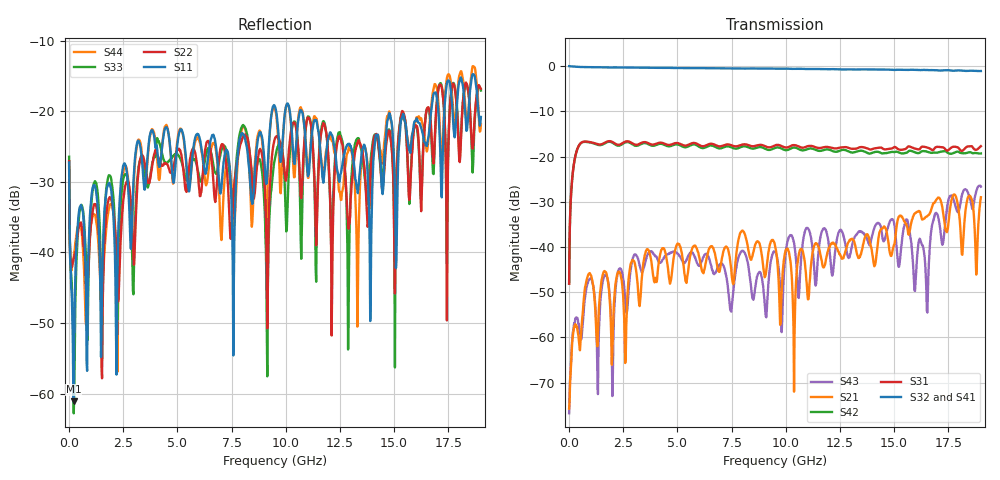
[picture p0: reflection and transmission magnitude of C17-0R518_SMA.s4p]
! MARKI MICROWAVE INC.
! Email:  support@markimicrowave.com  Phone:  408-778-4200
! Model Number:  C17-0R518  Date:  04/16
! Filename:		C17_0R518_SMA.S4P  Version: 1.0
! Description:  4-port S-parameter data for Directional Coupler C17-0R518 with SMA connectors on all ports
! Frequency Range: 	10 MHz to 19 GHz
! Port Configuration:	PORT 1: Input
!  PORT 2: Isolated
!  Port 3: Coupled
!  Port 4: Output
! S4P File: Measurements: Mag<S11> Ang<S11> Mag<S12> Ang<S12> Mag<S13> Ang<S13> Mag<S14> Ang<S14>! row 1
!  Mag<S21> Ang<S21> Mag<S22> Ang<S22> Mag<S23> Ang<S23> Mag<S24> Ang<S24>! row 2
!  Mag<S31> Ang<S31> Mag<S32> Ang<S32> Mag<S33> Ang<S33> Mag<S34> Ang<S34>! row 3
!  Mag<S41> Ang<S41> Mag<S42> Ang<S42> Mag<S43> Ang<S43> Mag<S44> Ang<S44>! row 4
# Hz S  dB  R 50
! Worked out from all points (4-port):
!   801 points, 10 MHz to 19 GHz, reference 50 ohm
!   strongest paths, dB at 10 MHz, 4.758 GHz, 9.505 GHz, 14.25 GHz, 19 GHz:
!     S32: 0.0, -0.4, -0.6, -0.8, -1.1
!     S41: 0.0, -0.4, -0.6, -0.8, -1.3
!     S31: -48.1, -17.3, -17.5, -18.1, -17.7
!     S42: -48.1, -17.6, -18.1, -19.0, -19.3
!     S21: -75.8, -45.4, -39.7, -39.0, -29.0
!     S43: -76.8, -41.1, -41.1, -34.7, -26.7
!   lowest |S11| = -61.1 dB at 223.6 MHz (marker M1), VSWR 1.00, Z = 49.9 + j0.0462 ohm
!   |S11| at or under -10 dB: start of sweep to end of sweep
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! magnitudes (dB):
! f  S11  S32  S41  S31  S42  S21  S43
! 10 MHz  -27.3  0.0  0.0  -48.1  -48.1  -75.8  -76.8
! 223.6 MHz  -61.1  -0.1  -0.1  -21.9  -21.9  -58.2  -57.4
! 3.808 GHz  -22.7  -0.4  -0.4  -17.3  -17.6  -43.4  -41.1
! 8.081 GHz  -23.4  -0.5  -0.6  -17.3  -17.7  -36.8  -41.2
! 9.149 GHz  -29.1  -0.5  -0.6  -17.9  -18.5  -43.3  -51.9
! 16.51 GHz  -24.9  -0.9  -0.9  -18.0  -18.9  -33.3  -54.1
! 19 GHz  -20.8  -1.1  -1.3  -17.7  -19.3  -29.0  -26.7
